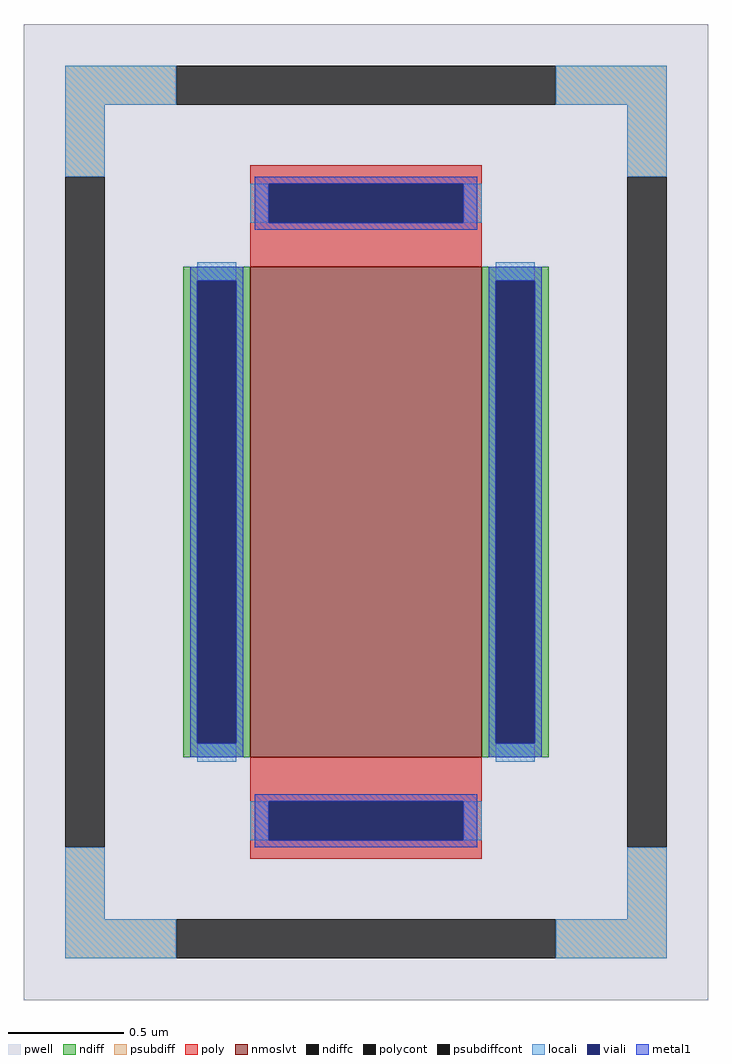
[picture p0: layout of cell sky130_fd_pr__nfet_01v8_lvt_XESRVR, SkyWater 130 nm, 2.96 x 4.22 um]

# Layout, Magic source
magic
tech sky130A
<< pwell >>
rect -148 -211 148 211
<< nmoslvt >>
rect -50 -106 50 106
<< ndiff >>
rect -79 100 -50 106
rect -79 -100 -73 100
rect -56 -100 -50 100
rect -79 -106 -50 -100
rect 50 100 79 106
rect 50 -100 56 100
rect 73 -100 79 100
rect 50 -106 79 -100
<< ndiffc >>
rect -73 -100 -56 100
rect 56 -100 73 100
<< psubdiff >>
rect -130 176 -82 193
rect 82 176 130 193
rect -130 145 -113 176
rect 113 145 130 176
rect -130 -176 -113 -145
rect 113 -176 130 -145
rect -130 -193 -82 -176
rect 82 -193 130 -176
<< psubdiffcont >>
rect -82 176 82 193
rect -130 -145 -113 145
rect 113 -145 130 145
rect -82 -193 82 -176
<< poly >>
rect -50 142 50 150
rect -50 125 -42 142
rect 42 125 50 142
rect -50 106 50 125
rect -50 -125 50 -106
rect -50 -142 -42 -125
rect 42 -142 50 -125
rect -50 -150 50 -142
<< polycont >>
rect -42 125 42 142
rect -42 -142 42 -125
<< locali >>
rect -130 176 -82 193
rect 82 176 130 193
rect -130 145 -113 176
rect 113 145 130 176
rect -50 125 -42 142
rect 42 125 50 142
rect -73 100 -56 108
rect -73 -108 -56 -100
rect 56 100 73 108
rect 56 -108 73 -100
rect -50 -142 -42 -125
rect 42 -142 50 -125
rect -130 -176 -113 -145
rect 113 -176 130 -145
rect -130 -193 -82 -176
rect 82 -193 130 -176
<< viali >>
rect -42 125 42 142
rect -73 -100 -56 100
rect 56 -100 73 100
rect -42 -142 42 -125
<< metal1 >>
rect -48 142 48 145
rect -48 125 -42 142
rect 42 125 48 142
rect -48 122 48 125
rect -76 100 -53 106
rect -76 -100 -73 100
rect -56 -100 -53 100
rect -76 -106 -53 -100
rect 53 100 76 106
rect 53 -100 56 100
rect 73 -100 76 100
rect 53 -106 76 -100
rect -48 -125 48 -122
rect -48 -142 -42 -125
rect 42 -142 48 -125
rect -48 -145 48 -142
<< properties >>
string FIXED_BBOX -121 -184 121 184
string gencell sky130_fd_pr__nfet_01v8_lvt
string library sky130
string parameters w 2.12 l 1.0 m 1 nf 1 diffcov 100 polycov 100 guard 1 glc 1 grc 1 gtc 1 gbc 1 tbcov 100 rlcov 100 topc 1 botc 1 poverlap 0 doverlap 1 lmin 0.15 wmin 0.42 compatible {sky130_fd_pr__nfet_01v8 sky130_fd_pr__nfet_01v8_lvt  sky130_fd_bs_flash__special_sonosfet_star  sky130_fd_pr__nfet_g5v0d10v5 sky130_fd_pr__nfet_05v0_nvt  sky130_fd_pr__nfet_03v3_nvt} full_metal 1 viasrc 100 viadrn 100 viagate 100 viagb 0 viagr 0 viagl 0 viagt 0
<< end >>
